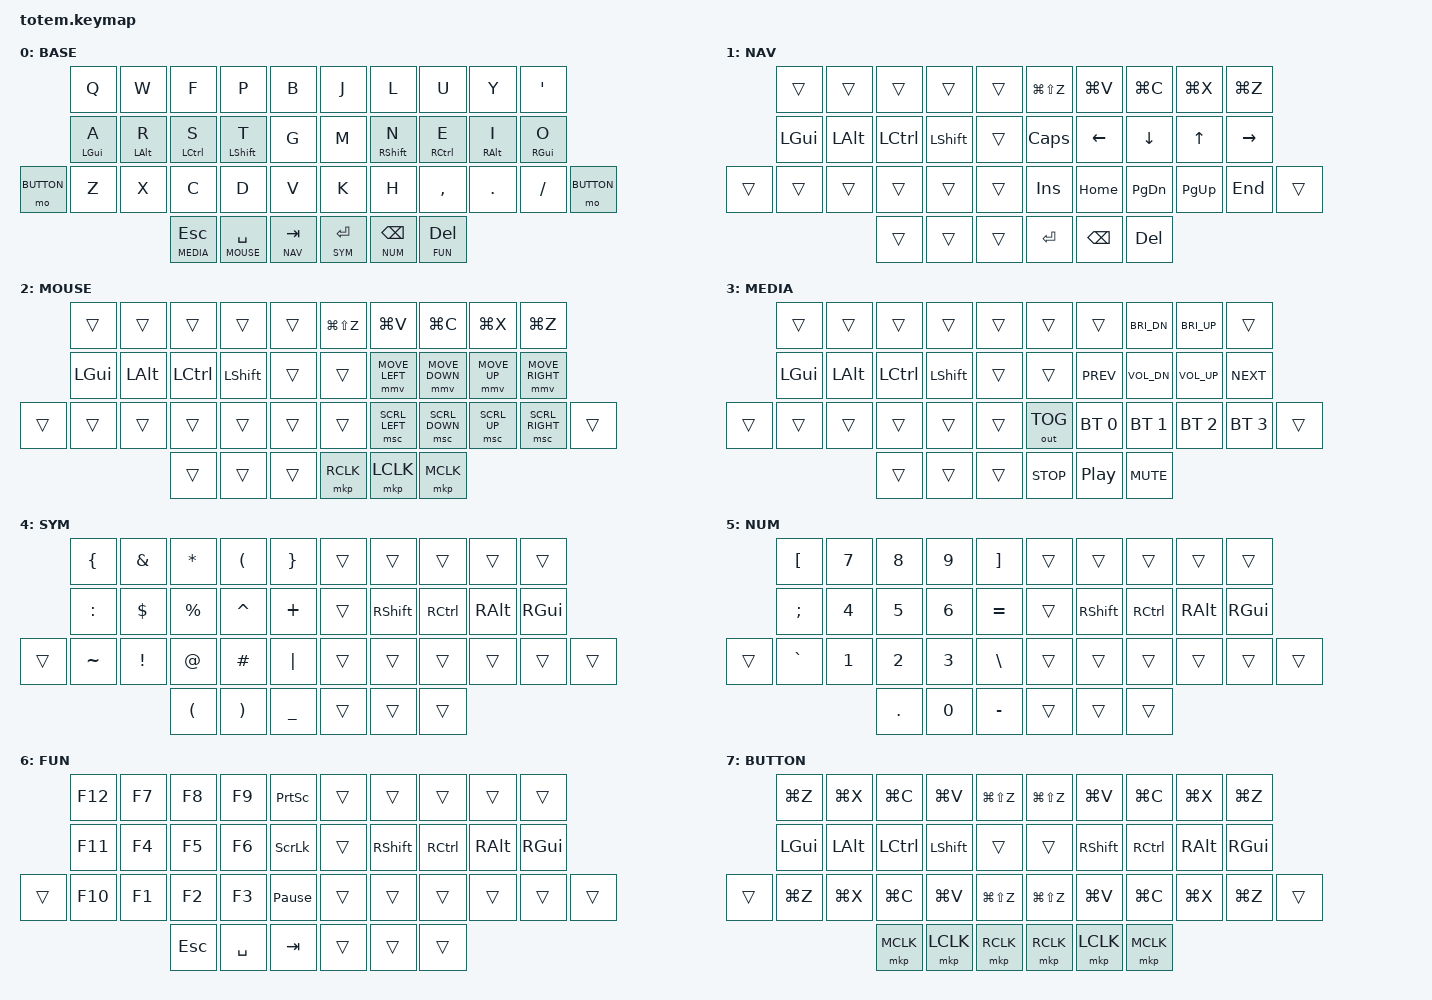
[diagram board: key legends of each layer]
//
//                                                        ▀▀▀▀▀     ▀▀▀▀▀          ▀▀█▀▀
//                                                        ▄▀▀▀▄  ▄  ▄▀▀▀▄  ▄  ▄▀▀▀▄  █  ▄▀▀▀▄
//                                                        █   █  █  █   █  █  █   █  █  █   █
//                                                         ▀▀▀   █   ▀▀▀   █   ▀▀▀   ▀   ▀▀▀
//                                                               █      ▄▄▄█▄▄▄    █   █  
//                                                               ▀      █  █  █     █▄█
//                                                             ▀▀▀▀▀    █  █  █      ▀
//                                                                      ▀  ▀  ▀
//
// ▄▄▄▄▄▄▄▄▄▄▄▄▄▄▄▄▄▄▄▄▄▄▄▄▄▄▄▄▄▄▄▄▄▄▄▄▄▄▄▄▄▄▄▄▄▄▄▄▄▄▄▄▄▄▄▄▄▄▄▄▄▄▄▄▄▄▄▄▄▄▄▄▄▄▄▄▄▄▄▄▄▄▄▄▄▄▄▄▄▄▄▄▄▄▄▄▄▄▄▄▄▄▄▄▄▄▄▄▄▄▄▄▄▄▄▄▄▄▄▄▄▄▄▄▄▄▄▄▄▄▄▄▄▄▄▄▄▄▄▄▄▄▄▄▄▄▄▄▄
       

#include <behaviors.dtsi>
#include <dt-bindings/zmk/keys.h>
#include <dt-bindings/zmk/bt.h>
#include <dt-bindings/zmk/outputs.h>
#include <dt-bindings/zmk/pointing.h>

#define BASE   0
#define NAV    1
#define MOUSE  2
#define MEDIA  3
#define SYM    4
#define NUM    5
#define FUN    6
#define BUTTON 7

&mt {
  quick-tap-ms = <100>;
  global-quick-tap;
  flavor = "tap-preferred";
  tapping-term-ms = <170>;
};

/ {
     combos {
            compatible = "zmk,combos";
            combo_esc {
                timeout-ms = <50>;
                key-positions = <0 1>;
                bindings = <&kp ESC>;
            };
    };

        keymap {
                compatible = "zmk,keymap";
// ▄▄▄▄▄▄▄▄▄▄▄▄▄▄▄▄▄▄▄▄▄▄▄▄▄▄▄▄▄▄▄▄▄▄▄▄▄▄▄▄▄▄▄▄▄▄▄▄▄▄▄▄▄▄▄▄▄▄▄▄▄▄▄▄▄▄▄▄▄▄▄▄▄▄▄▄▄▄▄▄▄▄▄▄▄▄▄▄▄▄▄▄▄▄▄▄▄▄▄▄▄▄▄▄▄▄▄▄▄▄▄▄▄▄▄▄▄▄▄▄▄▄▄▄▄▄▄▄▄▄▄▄▄▄▄▄▄▄▄▄▄▄▄▄▄▄▄▄▄

                base_layer {
// ┏━━━━━━━━━━━━━━━━━━━━━━━━━━━━━━━━━━━━━━━┓
label= "BASE"                              ;
// ┗━━━━━━━━━━━━━━━━━━━━━━━━━━━━━━━━━━━━━━━┛
//             ┏━━━━━━━━━━━┳━━━━━━━━━━━┳━━━━━━━━━━━┳━━━━━━━━━━━┳━━━━━━━━━━━┓   ┏━━━━━━━━━━━┳━━━━━━━━━━━┳━━━━━━━━━━━┳━━━━━━━━━━━┳━━━━━━━━━━━┓
//             ┃     Q     ┃     W     ┃     F     ┃     P     ┃     B     ┃   ┃     J     ┃     L     ┃     U     ┃     Y     ┃     '     ┃
//             ┣━━━━━━━━━━━╋━━━━━━━━━━━╋━━━━━━━━━━━╋━━━━━━━━━━━╋━━━━━━━━━━━┫   ┣━━━━━━━━━━━╋━━━━━━━━━━━╋━━━━━━━━━━━╋━━━━━━━━━━━╋━━━━━━━━━━━┫
//             ┃     A     ┃     R     ┃     S     ┃     T     ┃     G     ┃   ┃     M     ┃     N     ┃     E     ┃     I     ┃     O     ┃
// ┏━━━━━━━━━━━╋━━━━━━━━━━━╋━━━━━━━━━━━╋━━━━━━━━━━━╋━━━━━━━━━━━╋━━━━━━━━━━━┫   ┣━━━━━━━━━━━╋━━━━━━━━━━━╋━━━━━━━━━━━╋━━━━━━━━━━━╋━━━━━━━━━━━╋━━━━━━━━━━━┓
// ┃           ┃     Z     ┃     X     ┃     C     ┃     D     ┃     V     ┃   ┃     K     ┃     H     ┃     ,     ┃     .     ┃     /     ┃           ┃
// ┗━━━━━━━━━━━┻━━━━━━━━━━━┻━━━━━━━━━━━╋━━━━━━━━━━━╋━━━━━━━━━━━╋━━━━━━━━━━━┫   ┣━━━━━━━━━━━╋━━━━━━━━━━━╋━━━━━━━━━━━╋━━━━━━━━━━━┻━━━━━━━━━━━┻━━━━━━━━━━━┛
//                                     ┃    ESC    ┃   SPACE   ┃    TAB    ┃   ┃   ENTER   ┃   BSPC    ┃    DEL    ┃
//                                     ┗━━━━━━━━━━━┻━━━━━━━━━━━┻━━━━━━━━━━━┛   ┗━━━━━━━━━━━┻━━━━━━━━━━━┻━━━━━━━━━━━┛
 bindings = <
// ╷           ╷           ╷           ╷           ╷           ╷           ╷   ╷           ╷           ╷           ╷           ╷           ╷           ╷

                &kp Q       &kp W       &kp F       &kp P       &kp B           &kp J       &kp L       &kp U       &kp Y       &kp SQT
                &mt LGUI A  &mt LALT R  &mt LCTRL S &mt LSHFT T &kp G           &kp M       &mt RSHFT N &mt RCTRL E &mt RALT I  &mt RGUI O
    &mo BUTTON  &kp Z       &kp X       &kp C       &kp D       &kp V           &kp K       &kp H       &kp COMMA   &kp DOT     &kp FSLH    &mo BUTTON
                                        &lt MEDIA ESC &lt MOUSE SPACE &lt NAV TAB   &lt SYM RET &lt NUM BSPC &lt FUN DEL
                        >;
                };

// ▄▄▄▄▄▄▄▄▄▄▄▄▄▄▄▄▄▄▄▄▄▄▄▄▄▄▄▄▄▄▄▄▄▄▄▄▄▄▄▄▄▄▄▄▄▄▄▄▄▄▄▄▄▄▄▄▄▄▄▄▄▄▄▄▄▄▄▄▄▄▄▄▄▄▄▄▄▄▄▄▄▄▄▄▄▄▄▄▄▄▄▄▄▄▄▄▄▄▄▄▄▄▄▄▄▄▄▄▄▄▄▄▄▄▄▄▄▄▄▄▄▄▄▄▄▄▄▄▄▄▄▄▄▄▄▄▄▄▄▄▄▄▄▄▄▄▄▄▄


                nav_layer {
// ┏━━━━━━━━━━━━━━━━━━━━━━━━━━━━━━━━━━━━━━━┓
label= "NAV"                               ;
// ┗━━━━━━━━━━━━━━━━━━━━━━━━━━━━━━━━━━━━━━━┛
//             ┏━━━━━━━━━━━┳━━━━━━━━━━━┳━━━━━━━━━━━┳━━━━━━━━━━━┳━━━━━━━━━━━┓   ┏━━━━━━━━━━━┳━━━━━━━━━━━┳━━━━━━━━━━━┳━━━━━━━━━━━┳━━━━━━━━━━━┓
//             ┃           ┃           ┃           ┃           ┃           ┃   ┃   REDO    ┃   PASTE   ┃   COPY    ┃    CUT    ┃   UNDO    ┃
//             ┣━━━━━━━━━━━╋━━━━━━━━━━━╋━━━━━━━━━━━╋━━━━━━━━━━━╋━━━━━━━━━━━┫   ┣━━━━━━━━━━━╋━━━━━━━━━━━╋━━━━━━━━━━━╋━━━━━━━━━━━╋━━━━━━━━━━━┫
//             ┃    GUI    ┃    ALT    ┃   CTRL    ┃   SHIFT   ┃           ┃   ┃ CAPS LOCK ┃   LEFT    ┃   DOWN    ┃     UP    ┃   RIGHT   ┃
// ┏━━━━━━━━━━━╋━━━━━━━━━━━╋━━━━━━━━━━━╋━━━━━━━━━━━╋━━━━━━━━━━━╋━━━━━━━━━━━┫   ┣━━━━━━━━━━━╋━━━━━━━━━━━╋━━━━━━━━━━━╋━━━━━━━━━━━╋━━━━━━━━━━━╋━━━━━━━━━━━┓
// ┃           ┃           ┃           ┃           ┃           ┃           ┃   ┃    INS    ┃   HOME    ┃  PG DN    ┃   PG UP   ┃    END    ┃           ┃
// ┗━━━━━━━━━━━┻━━━━━━━━━━━┻━━━━━━━━━━━╋━━━━━━━━━━━╋━━━━━━━━━━━╋━━━━━━━━━━━┫   ┣━━━━━━━━━━━╋━━━━━━━━━━━╋━━━━━━━━━━━╋━━━━━━━━━━━┻━━━━━━━━━━━┻━━━━━━━━━━━┛
//                                     ┃           ┃           ┃           ┃   ┃   ENTER   ┃   BSPC    ┃    DEL    ┃
//                                     ┗━━━━━━━━━━━┻━━━━━━━━━━━┻━━━━━━━━━━━┛   ┗━━━━━━━━━━━┻━━━━━━━━━━━┻━━━━━━━━━━━┛
 bindings = <
// ╷           ╷           ╷           ╷           ╷           ╷           ╷   ╷           ╷           ╷           ╷           ╷           ╷           ╷

                &trans      &trans      &trans      &trans      &trans          &kp LG(LS(Z))  &kp LG(V) &kp LG(C)  &kp LG(X)   &kp LG(Z)
                &kp LGUI    &kp LALT    &kp LCTRL   &kp LSHFT   &trans          &kp CAPS    &kp LEFT    &kp DOWN    &kp UP      &kp RIGHT
    &trans      &trans      &trans      &trans      &trans      &trans          &kp INS     &kp HOME    &kp PG_DN   &kp PG_UP   &kp END     &trans
                                        &trans      &trans      &trans          &kp RET     &kp BSPC    &kp DEL
                        >;
                };

// ▄▄▄▄▄▄▄▄▄▄▄▄▄▄▄▄▄▄▄▄▄▄▄▄▄▄▄▄▄▄▄▄▄▄▄▄▄▄▄▄▄▄▄▄▄▄▄▄▄▄▄▄▄▄▄▄▄▄▄▄▄▄▄▄▄▄▄▄▄▄▄▄▄▄▄▄▄▄▄▄▄▄▄▄▄▄▄▄▄▄▄▄▄▄▄▄▄▄▄▄▄▄▄▄▄▄▄▄▄▄▄▄▄▄▄▄▄▄▄▄▄▄▄▄▄▄▄▄▄▄▄▄▄▄▄▄▄▄▄▄▄▄▄▄▄▄▄▄▄

                mouse_layer {
// ┏━━━━━━━━━━━━━━━━━━━━━━━━━━━━━━━━━━━━━━━┓
label= "MOUSE"                             ;
// ┗━━━━━━━━━━━━━━━━━━━━━━━━━━━━━━━━━━━━━━━┛
//             ┏━━━━━━━━━━━┳━━━━━━━━━━━┳━━━━━━━━━━━┳━━━━━━━━━━━┳━━━━━━━━━━━┓   ┏━━━━━━━━━━━┳━━━━━━━━━━━┳━━━━━━━━━━━┳━━━━━━━━━━━┳━━━━━━━━━━━┓
//             ┃           ┃           ┃           ┃           ┃           ┃   ┃   REDO    ┃   PASTE   ┃   COPY    ┃    CUT    ┃   UNDO    ┃
//             ┣━━━━━━━━━━━╋━━━━━━━━━━━╋━━━━━━━━━━━╋━━━━━━━━━━━╋━━━━━━━━━━━┫   ┣━━━━━━━━━━━╋━━━━━━━━━━━╋━━━━━━━━━━━╋━━━━━━━━━━━╋━━━━━━━━━━━┫
//             ┃    GUI    ┃    ALT    ┃   CTRL    ┃   SHIFT   ┃           ┃   ┃           ┃  M LEFT   ┃  M DOWN   ┃   M UP    ┃  M RIGHT  ┃
// ┏━━━━━━━━━━━╋━━━━━━━━━━━╋━━━━━━━━━━━╋━━━━━━━━━━━╋━━━━━━━━━━━╋━━━━━━━━━━━┫   ┣━━━━━━━━━━━╋━━━━━━━━━━━╋━━━━━━━━━━━╋━━━━━━━━━━━╋━━━━━━━━━━━╋━━━━━━━━━━━┓
// ┃           ┃           ┃           ┃           ┃           ┃           ┃   ┃           ┃ SCRL LEFT ┃ SCRL DOWN ┃  SCRL UP  ┃SCRL RIGHT ┃           ┃
// ┗━━━━━━━━━━━┻━━━━━━━━━━━┻━━━━━━━━━━━╋━━━━━━━━━━━╋━━━━━━━━━━━╋━━━━━━━━━━━┫   ┣━━━━━━━━━━━╋━━━━━━━━━━━╋━━━━━━━━━━━╋━━━━━━━━━━━┻━━━━━━━━━━━┻━━━━━━━━━━━┛
//                                     ┃           ┃           ┃           ┃   ┃ M BTN 2   ┃ M BTN 1   ┃ M BTN 3   ┃
//                                     ┗━━━━━━━━━━━┻━━━━━━━━━━━┻━━━━━━━━━━━┛   ┗━━━━━━━━━━━┻━━━━━━━━━━━┻━━━━━━━━━━━┛
 bindings = <
// ╷           ╷           ╷           ╷           ╷           ╷           ╷   ╷           ╷           ╷           ╷           ╷           ╷           ╷

                &trans      &trans      &trans      &trans      &trans          &kp LG(LS(Z))  &kp LG(V) &kp LG(C)  &kp LG(X)   &kp LG(Z)
                &kp LGUI    &kp LALT    &kp LCTRL   &kp LSHFT   &trans          &trans      &mmv MOVE_LEFT &mmv MOVE_DOWN &mmv MOVE_UP &mmv MOVE_RIGHT
    &trans      &trans      &trans      &trans      &trans      &trans          &trans      &msc SCRL_LEFT &msc SCRL_DOWN &msc SCRL_UP &msc SCRL_RIGHT &trans
                                        &trans      &trans      &trans          &mkp RCLK   &mkp LCLK   &mkp MCLK
                        >;
                };

// ▄▄▄▄▄▄▄▄▄▄▄▄▄▄▄▄▄▄▄▄▄▄▄▄▄▄▄▄▄▄▄▄▄▄▄▄▄▄▄▄▄▄▄▄▄▄▄▄▄▄▄▄▄▄▄▄▄▄▄▄▄▄▄▄▄▄▄▄▄▄▄▄▄▄▄▄▄▄▄▄▄▄▄▄▄▄▄▄▄▄▄▄▄▄▄▄▄▄▄▄▄▄▄▄▄▄▄▄▄▄▄▄▄▄▄▄▄▄▄▄▄▄▄▄▄▄▄▄▄▄▄▄▄▄▄▄▄▄▄▄▄▄▄▄▄▄▄▄▄

                  media_layer {
  // ┏━━━━━━━━━━━━━━━━━━━━━━━━━━━━━━━━━━━━━━━┓
  label= "MEDIA"                             ;
  // ┗━━━━━━━━━━━━━━━━━━━━━━━━━━━━━━━━━━━━━━━┛
  //             ┏━━━━━━━━━━━┳━━━━━━━━━━━┳━━━━━━━━━━━┳━━━━━━━━━━━┳━━━━━━━━━━━┓   ┏━━━━━━━━━━━┳━━━━━━━━━━━┳━━━━━━━━━━━┳━━━━━━━━━━━┳━━━━━━━━━━━┓
  //             ┃           ┃           ┃           ┃           ┃           ┃   ┃           ┃           ┃  BRI_DN   ┃  BRI_UP   ┃           ┃
  //             ┣━━━━━━━━━━━╋━━━━━━━━━━━╋━━━━━━━━━━━╋━━━━━━━━━━━╋━━━━━━━━━━━┫   ┣━━━━━━━━━━━╋━━━━━━━━━━━╋━━━━━━━━━━━╋━━━━━━━━━━━╋━━━━━━━━━━━┫
  //             ┃    GUI    ┃    ALT    ┃   CTRL    ┃   SHIFT   ┃           ┃   ┃           ┃   PREV    ┃  VOL_DN   ┃  VOL_UP   ┃   NEXT    ┃
  // ┏━━━━━━━━━━━╋━━━━━━━━━━━╋━━━━━━━━━━━╋━━━━━━━━━━━╋━━━━━━━━━━━╋━━━━━━━━━━━┫   ┣━━━━━━━━━━━╋━━━━━━━━━━━╋━━━━━━━━━━━╋━━━━━━━━━━━╋━━━━━━━━━━━╋━━━━━━━━━━━┓
  // ┃           ┃           ┃           ┃           ┃           ┃           ┃   ┃  OUT_TOG  ┃   BT 0    ┃   BT 1    ┃   BT 2    ┃   BT 3    ┃           ┃
  // ┗━━━━━━━━━━━┻━━━━━━━━━━━┻━━━━━━━━━━━╋━━━━━━━━━━━╋━━━━━━━━━━━╋━━━━━━━━━━━┫   ┣━━━━━━━━━━━╋━━━━━━━━━━━╋━━━━━━━━━━━╋━━━━━━━━━━━┻━━━━━━━━━━━┻━━━━━━━━━━━┛
  //                                     ┃           ┃           ┃           ┃   ┃  STOP     ┃   PAUSE   ┃   MUTE    ┃
  //                                     ┗━━━━━━━━━━━┻━━━━━━━━━━━┻━━━━━━━━━━━┛   ┗━━━━━━━━━━━┻━━━━━━━━━━━┻━━━━━━━━━━━┛

 bindings = <
// ╷           ╷           ╷           ╷           ╷           ╷           ╷   ╷           ╷           ╷           ╷           ╷           ╷           ╷

                &trans      &trans      &trans      &trans      &trans          &trans      &trans      &kp C_BRI_DN &kp C_BRI_UP &trans
                &kp LGUI    &kp LALT    &kp LCTRL   &kp LSHFT   &trans          &trans      &kp C_PREV  &kp C_VOL_DN &kp C_VOL_UP &kp C_NEXT
    &trans      &trans      &trans      &trans      &trans      &trans          &out OUT_TOG &bt BT_SEL 0 &bt BT_SEL 1 &bt BT_SEL 2 &bt BT_SEL 3 &trans
                                        &trans      &trans      &trans          &kp C_STOP   &kp C_PP    &kp C_MUTE
                        >;
                };

// ▄▄▄▄▄▄▄▄▄▄▄▄▄▄▄▄▄▄▄▄▄▄▄▄▄▄▄▄▄▄▄▄▄▄▄▄▄▄▄▄▄▄▄▄▄▄▄▄▄▄▄▄▄▄▄▄▄▄▄▄▄▄▄▄▄▄▄▄▄▄▄▄▄▄▄▄▄▄▄▄▄▄▄▄▄▄▄▄▄▄▄▄▄▄▄▄▄▄▄▄▄▄▄▄▄▄▄▄▄▄▄▄▄▄▄▄▄▄▄▄▄▄▄▄▄▄▄▄▄▄▄▄▄▄▄▄▄▄▄▄▄▄▄▄▄▄▄▄▄

                sym_layer {
// ┏━━━━━━━━━━━━━━━━━━━━━━━━━━━━━━━━━━━━━━━┓
label= "SYM"                               ;
// ┗━━━━━━━━━━━━━━━━━━━━━━━━━━━━━━━━━━━━━━━┛
//             ┏━━━━━━━━━━━┳━━━━━━━━━━━┳━━━━━━━━━━━┳━━━━━━━━━━━┳━━━━━━━━━━━┓   ┏━━━━━━━━━━━┳━━━━━━━━━━━┳━━━━━━━━━━━┳━━━━━━━━━━━┳━━━━━━━━━━━┓
//             ┃     {     ┃     &     ┃     *     ┃     (     ┃     }     ┃   ┃           ┃           ┃           ┃           ┃           ┃
//             ┣━━━━━━━━━━━╋━━━━━━━━━━━╋━━━━━━━━━━━╋━━━━━━━━━━━╋━━━━━━━━━━━┫   ┣━━━━━━━━━━━╋━━━━━━━━━━━╋━━━━━━━━━━━╋━━━━━━━━━━━╋━━━━━━━━━━━┫
//             ┃     :     ┃     $     ┃     %     ┃     ^     ┃     +     ┃   ┃           ┃   SHIFT   ┃   CTRL    ┃    ALT    ┃    GUI    ┃
// ┏━━━━━━━━━━━╋━━━━━━━━━━━╋━━━━━━━━━━━╋━━━━━━━━━━━╋━━━━━━━━━━━╋━━━━━━━━━━━┫   ┣━━━━━━━━━━━╋━━━━━━━━━━━╋━━━━━━━━━━━╋━━━━━━━━━━━╋━━━━━━━━━━━╋━━━━━━━━━━━┓
// ┃           ┃     ~     ┃     !     ┃     @     ┃     #     ┃     |     ┃   ┃           ┃           ┃           ┃           ┃           ┃           ┃
// ┗━━━━━━━━━━━┻━━━━━━━━━━━┻━━━━━━━━━━━╋━━━━━━━━━━━╋━━━━━━━━━━━╋━━━━━━━━━━━┫   ┣━━━━━━━━━━━╋━━━━━━━━━━━╋━━━━━━━━━━━╋━━━━━━━━━━━┻━━━━━━━━━━━┻━━━━━━━━━━━┛
//                                     ┃     (     ┃     )     ┃     _     ┃   ┃           ┃           ┃           ┃
//                                     ┗━━━━━━━━━━━┻━━━━━━━━━━━┻━━━━━━━━━━━┛   ┗━━━━━━━━━━━┻━━━━━━━━━━━┻━━━━━━━━━━━┛
 bindings = <
// ╷           ╷           ╷           ╷           ╷           ╷           ╷   ╷           ╷           ╷           ╷           ╷           ╷           ╷

                &kp LBRC    &kp AMPS    &kp STAR    &kp LPAR    &kp RBRC        &trans      &trans      &trans      &trans      &trans
                &kp COLON   &kp DLLR    &kp PRCNT   &kp CARET   &kp PLUS        &trans      &kp RSHFT   &kp RCTRL   &kp RALT    &kp RGUI
    &trans      &kp TILDE   &kp EXCL    &kp AT      &kp HASH    &kp PIPE        &trans      &trans      &trans      &trans      &trans      &trans
                                        &kp LPAR    &kp RPAR    &kp UNDER       &trans      &trans      &trans
                        >;
                };

// ▄▄▄▄▄▄▄▄▄▄▄▄▄▄▄▄▄▄▄▄▄▄▄▄▄▄▄▄▄▄▄▄▄▄▄▄▄▄▄▄▄▄▄▄▄▄▄▄▄▄▄▄▄▄▄▄▄▄▄▄▄▄▄▄▄▄▄▄▄▄▄▄▄▄▄▄▄▄▄▄▄▄▄▄▄▄▄▄▄▄▄▄▄▄▄▄▄▄▄▄▄▄▄▄▄▄▄▄▄▄▄▄▄▄▄▄▄▄▄▄▄▄▄▄▄▄▄▄▄▄▄▄▄▄▄▄▄▄▄▄▄▄▄▄▄▄▄▄▄

                num_layer {
// ┏━━━━━━━━━━━━━━━━━━━━━━━━━━━━━━━━━━━━━━━┓
label= "NUM"                               ;
// ┗━━━━━━━━━━━━━━━━━━━━━━━━━━━━━━━━━━━━━━━┛
//             ┏━━━━━━━━━━━┳━━━━━━━━━━━┳━━━━━━━━━━━┳━━━━━━━━━━━┳━━━━━━━━━━━┓   ┏━━━━━━━━━━━┳━━━━━━━━━━━┳━━━━━━━━━━━┳━━━━━━━━━━━┳━━━━━━━━━━━┓
//             ┃     [     ┃     7     ┃     8     ┃     9     ┃     ]     ┃   ┃           ┃           ┃           ┃           ┃           ┃
//             ┣━━━━━━━━━━━╋━━━━━━━━━━━╋━━━━━━━━━━━╋━━━━━━━━━━━╋━━━━━━━━━━━┫   ┣━━━━━━━━━━━╋━━━━━━━━━━━╋━━━━━━━━━━━╋━━━━━━━━━━━╋━━━━━━━━━━━┫
//             ┃     ;     ┃     4     ┃     5     ┃     6     ┃     =     ┃   ┃           ┃   SHIFT   ┃   CTRL    ┃    ALT    ┃    GUI    ┃
// ┏━━━━━━━━━━━╋━━━━━━━━━━━╋━━━━━━━━━━━╋━━━━━━━━━━━╋━━━━━━━━━━━╋━━━━━━━━━━━┫   ┣━━━━━━━━━━━╋━━━━━━━━━━━╋━━━━━━━━━━━╋━━━━━━━━━━━╋━━━━━━━━━━━╋━━━━━━━━━━━┓
//             ┃     `     ┃     1     ┃     2     ┃     3     ┃     \     ┃   ┃           ┃           ┃           ┃           ┃           ┃           ┃
// ┗━━━━━━━━━━━┻━━━━━━━━━━━┻━━━━━━━━━━━╋━━━━━━━━━━━╋━━━━━━━━━━━╋━━━━━━━━━━━┫   ┣━━━━━━━━━━━╋━━━━━━━━━━━╋━━━━━━━━━━━╋━━━━━━━━━━━┻━━━━━━━━━━━┻━━━━━━━━━━━┛
//                                     ┃     .     ┃     0     ┃     -     ┃   ┃           ┃           ┃           ┃
//                                     ┗━━━━━━━━━━━┻━━━━━━━━━━━┻━━━━━━━━━━━┛   ┗━━━━━━━━━━━┻━━━━━━━━━━━┻━━━━━━━━━━━┛
 bindings = <
// ╷           ╷           ╷           ╷           ╷           ╷           ╷   ╷           ╷           ╷           ╷           ╷           ╷           ╷

                &kp LBKT    &kp N7      &kp N8      &kp N9      &kp RBKT        &trans      &trans      &trans      &trans      &trans
                &kp SEMI    &kp N4      &kp N5      &kp N6      &kp EQUAL       &trans      &kp RSHFT   &kp RCTRL   &kp RALT    &kp RGUI
    &trans      &kp GRAVE   &kp N1      &kp N2      &kp N3      &kp BSLH        &trans      &trans      &trans      &trans      &trans      &trans
                                        &kp DOT     &kp N0      &kp MINUS       &trans      &trans      &trans
                        >;
                };

// ▄▄▄▄▄▄▄▄▄▄▄▄▄▄▄▄▄▄▄▄▄▄▄▄▄▄▄▄▄▄▄▄▄▄▄▄▄▄▄▄▄▄▄▄▄▄▄▄▄▄▄▄▄▄▄▄▄▄▄▄▄▄▄▄▄▄▄▄▄▄▄▄▄▄▄▄▄▄▄▄▄▄▄▄▄▄▄▄▄▄▄▄▄▄▄▄▄▄▄▄▄▄▄▄▄▄▄▄▄▄▄▄▄▄▄▄▄▄▄▄▄▄▄▄▄▄▄▄▄▄▄▄▄▄▄▄▄▄▄▄▄▄▄▄▄▄▄▄▄


                fun_layer {
// ┏━━━━━━━━━━━━━━━━━━━━━━━━━━━━━━━━━━━━━━━┓
label= "FUN"                               ;
// ┗━━━━━━━━━━━━━━━━━━━━━━━━━━━━━━━━━━━━━━━┛
//             ┏━━━━━━━━━━━┳━━━━━━━━━━━┳━━━━━━━━━━━┳━━━━━━━━━━━┳━━━━━━━━━━━┓   ┏━━━━━━━━━━━┳━━━━━━━━━━━┳━━━━━━━━━━━┳━━━━━━━━━━━┳━━━━━━━━━━━┓
//             ┃    F12    ┃    F7     ┃    F8     ┃    F9     ┃  PRTSCR   ┃   ┃           ┃           ┃           ┃           ┃           ┃
//             ┣━━━━━━━━━━━╋━━━━━━━━━━━╋━━━━━━━━━━━╋━━━━━━━━━━━╋━━━━━━━━━━━┫   ┣━━━━━━━━━━━╋━━━━━━━━━━━╋━━━━━━━━━━━╋━━━━━━━━━━━╋━━━━━━━━━━━┫
//             ┃    F11    ┃    F4     ┃    F5     ┃    F6     ┃ SCRLLOCK  ┃   ┃           ┃   SHIFT   ┃   CTRL    ┃    ALT    ┃    GUI    ┃
// ┏━━━━━━━━━━━╋━━━━━━━━━━━╋━━━━━━━━━━━╋━━━━━━━━━━━╋━━━━━━━━━━━╋━━━━━━━━━━━┫   ┣━━━━━━━━━━━╋━━━━━━━━━━━╋━━━━━━━━━━━╋━━━━━━━━━━━╋━━━━━━━━━━━╋━━━━━━━━━━━┓
// ┃           ┃    F10    ┃    F1     ┃    F2     ┃    F3     ┃   PAUSE   ┃   ┃           ┃           ┃           ┃           ┃           ┃           ┃
// ┗━━━━━━━━━━━┻━━━━━━━━━━━┻━━━━━━━━━━━╋━━━━━━━━━━━╋━━━━━━━━━━━╋━━━━━━━━━━━┫   ┣━━━━━━━━━━━╋━━━━━━━━━━━╋━━━━━━━━━━━╋━━━━━━━━━━━┻━━━━━━━━━━━┻━━━━━━━━━━━┛
//                                     ┃   ESC     ┃   SPACE   ┃    TAB    ┃   ┃           ┃           ┃           ┃
//                                     ┗━━━━━━━━━━━┻━━━━━━━━━━━┻━━━━━━━━━━━┛   ┗━━━━━━━━━━━┻━━━━━━━━━━━┻━━━━━━━━━━━┛
 bindings = <
// ╷           ╷           ╷           ╷           ╷           ╷           ╷   ╷           ╷           ╷           ╷           ╷           ╷           ╷

                &kp F12     &kp F7      &kp F8      &kp F9      &kp PSCRN       &trans      &trans      &trans      &trans      &trans
                &kp F11     &kp F4      &kp F5      &kp F6      &kp SLCK        &trans      &kp RSHFT   &kp RCTRL   &kp RALT    &kp RGUI
    &trans      &kp F10     &kp F1      &kp F2      &kp F3      &kp PAUSE_BREAK &trans      &trans      &trans      &trans      &trans      &trans
                                        &kp ESC     &kp SPACE   &kp TAB         &trans      &trans      &trans
                        >;
                };

// ▄▄▄▄▄▄▄▄▄▄▄▄▄▄▄▄▄▄▄▄▄▄▄▄▄▄▄▄▄▄▄▄▄▄▄▄▄▄▄▄▄▄▄▄▄▄▄▄▄▄▄▄▄▄▄▄▄▄▄▄▄▄▄▄▄▄▄▄▄▄▄▄▄▄▄▄▄▄▄▄▄▄▄▄▄▄▄▄▄▄▄▄▄▄▄▄▄▄▄▄▄▄▄▄▄▄▄▄▄▄▄▄▄▄▄▄▄▄▄▄▄▄▄▄▄▄▄▄▄▄▄▄▄▄▄▄▄▄▄▄▄▄▄▄▄▄▄▄▄

                button_layer {
// ┏━━━━━━━━━━━━━━━━━━━━━━━━━━━━━━━━━━━━━━━┓
label= "BUTTON"                            ;
// ┗━━━━━━━━━━━━━━━━━━━━━━━━━━━━━━━━━━━━━━━┛
//             ┏━━━━━━━━━━━┳━━━━━━━━━━━┳━━━━━━━━━━━┳━━━━━━━━━━━┳━━━━━━━━━━━┓   ┏━━━━━━━━━━━┳━━━━━━━━━━━┳━━━━━━━━━━━┳━━━━━━━━━━━┳━━━━━━━━━━━┓
//             ┃    UNDO   ┃    CUT    ┃   COPY    ┃  PASTE    ┃   REDO    ┃   ┃   REDO    ┃   PASTE   ┃   COPY    ┃    CUT    ┃   UNDO    ┃
//             ┣━━━━━━━━━━━╋━━━━━━━━━━━╋━━━━━━━━━━━╋━━━━━━━━━━━╋━━━━━━━━━━━┫   ┣━━━━━━━━━━━╋━━━━━━━━━━━╋━━━━━━━━━━━╋━━━━━━━━━━━╋━━━━━━━━━━━┫
//             ┃    GUI    ┃    ALT    ┃   CTRL    ┃   SHIFT   ┃           ┃   ┃           ┃  SHIFT    ┃   CTRL    ┃   ALT     ┃   GUI     ┃
// ┏━━━━━━━━━━━╋━━━━━━━━━━━╋━━━━━━━━━━━╋━━━━━━━━━━━╋━━━━━━━━━━━╋━━━━━━━━━━━┫   ┣━━━━━━━━━━━╋━━━━━━━━━━━╋━━━━━━━━━━━╋━━━━━━━━━━━╋━━━━━━━━━━━╋━━━━━━━━━━━┓
// ┃           ┃    UNDO   ┃    CUT    ┃   COPY    ┃  PASTE    ┃   REDO    ┃   ┃   REDO    ┃   PASTE   ┃   COPY    ┃    CUT    ┃   UNDO    ┃           ┃
// ┗━━━━━━━━━━━┻━━━━━━━━━━━┻━━━━━━━━━━━╋━━━━━━━━━━━╋━━━━━━━━━━━╋━━━━━━━━━━━┫   ┣━━━━━━━━━━━╋━━━━━━━━━━━╋━━━━━━━━━━━╋━━━━━━━━━━━┻━━━━━━━━━━━┻━━━━━━━━━━━┛
//                                     ┃  MIDDLE   ┃ LEFT      ┃ RIGHT     ┃   ┃   RIGHT   ┃   LEFT    ┃   MIDDLE  ┃
//                                     ┗━━━━━━━━━━━┻━━━━━━━━━━━┻━━━━━━━━━━━┛   ┗━━━━━━━━━━━┻━━━━━━━━━━━┻━━━━━━━━━━━┛
 bindings = <
// ╷           ╷           ╷           ╷           ╷           ╷           ╷   ╷           ╷           ╷           ╷           ╷           ╷           ╷

                &kp LG(Z)  &kp LG(X)   &kp LG(C)  &kp LG(V) &kp LG(LS(Z))      &kp LG(LS(Z))  &kp LG(V) &kp LG(C)  &kp LG(X)   &kp LG(Z)
                &kp LGUI    &kp LALT    &kp LCTRL   &kp LSHFT   &trans          &trans      &kp RSHFT   &kp RCTRL   &kp RALT    &kp RGUI
    &trans      &kp LG(Z)  &kp LG(X)   &kp LG(C)  &kp LG(V) &kp LG(LS(Z))      &kp LG(LS(Z))  &kp LG(V) &kp LG(C)  &kp LG(X)   &kp LG(Z)  &trans
                                        &mkp MCLK   &mkp LCLK   &mkp RCLK       &mkp RCLK   &mkp LCLK   &mkp MCLK
                        >;
                };
        };
};
